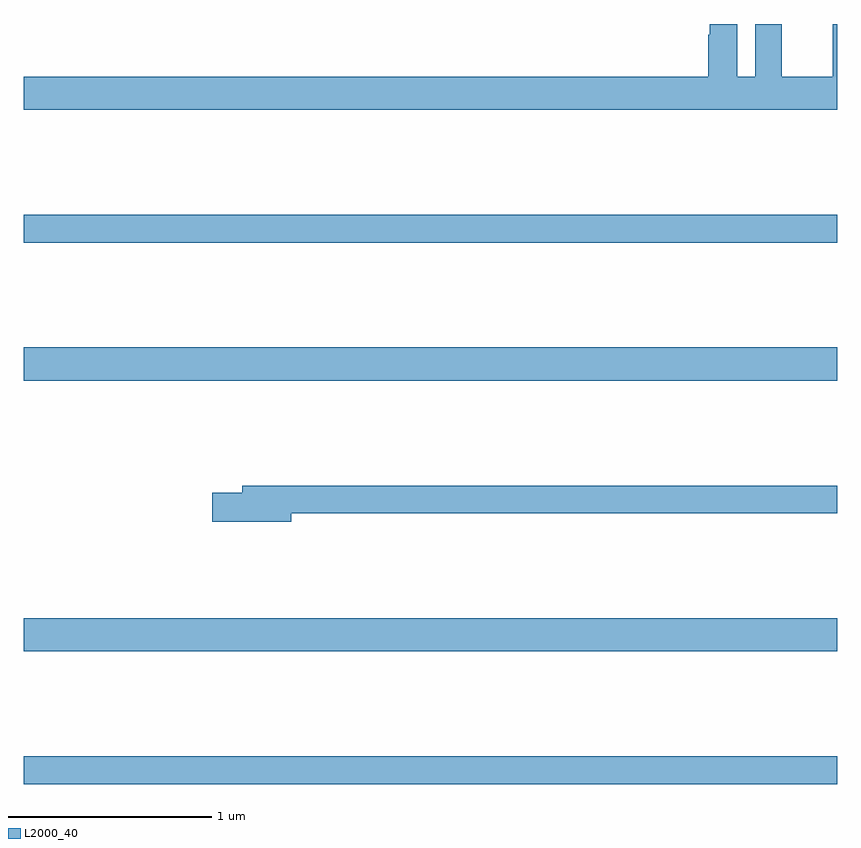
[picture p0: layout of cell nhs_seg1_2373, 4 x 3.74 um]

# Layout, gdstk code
import gdstk
lib = gdstk.Library(unit=1e-6, precision=1e-09)
def R(c, l, rs):  # rectangles x0, y0, x1, y1
    for r in rs: c.add(gdstk.rectangle(r[:2], r[2:], *l))
def P(c, l, *ps):  # polygons
    for p in ps: c.add(gdstk.Polygon(p, *l))
L2000_40 = (2000, 40)

nhs_seg1_2373 = lib.new_cell('nhs_seg1_2373')
R(nhs_seg1_2373, L2000_40, [(241,504.46,245,504.596), (241,505.112,245,505.276), (241,506.444,245,506.608), (241,507.124,245,507.26)])
P(nhs_seg1_2373, L2000_40, [(245,508.199),(244.979,508.199),(244.979,507.94),(244.729,507.94),(244.729,508.199),(244.598,508.199),(244.598,507.94),(244.51,507.94),(244.51,508.199),(244.373,508.199),(244.373,508.145),(244.367,508.145),(244.367,507.94),(241,507.94),(241,507.776),(245,507.776)],
  [(242.314,505.792),(245,505.792),(245,505.928),(242.075,505.928),(242.075,505.892),(241.926,505.892),(241.926,505.75),(242.314,505.75)])

lib.write_gds('nhs_seg1_2373.gds')
